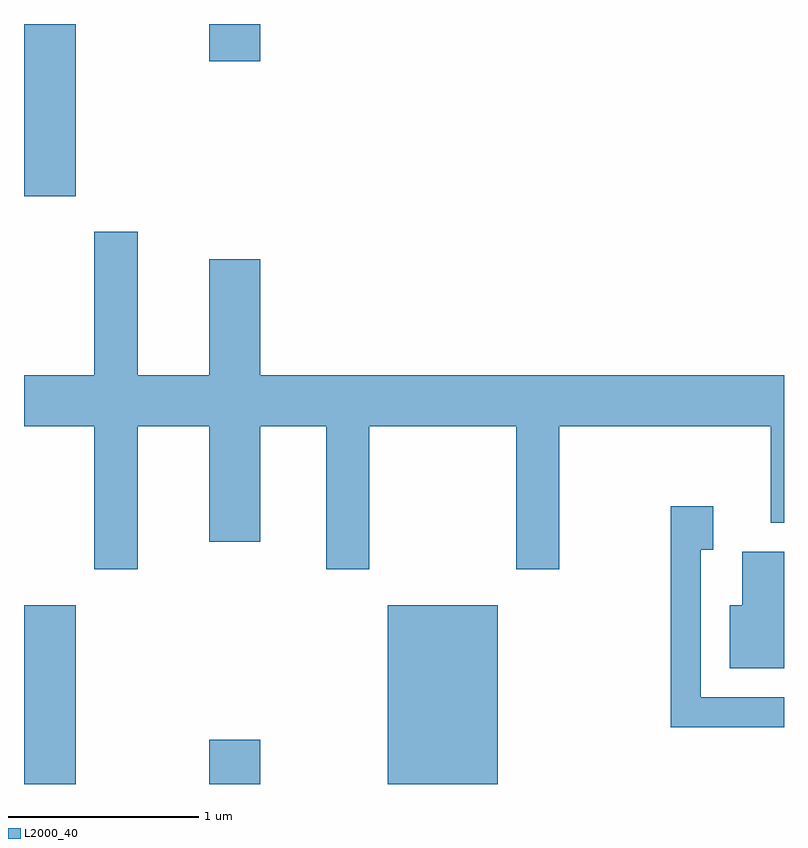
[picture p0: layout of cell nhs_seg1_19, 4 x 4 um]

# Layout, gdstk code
import gdstk
lib = gdstk.Library(unit=1e-6, precision=1e-09)
def R(c, l, rs):  # rectangles x0, y0, x1, y1
    for r in rs: c.add(gdstk.rectangle(r[:2], r[2:], *l))
def P(c, l, *ps):  # polygons
    for p in ps: c.add(gdstk.Polygon(p, *l))
L2000_40 = (2000, 40)

nhs_seg1_19 = lib.new_cell('nhs_seg1_19')
R(nhs_seg1_19, L2000_40, [(185.611,877.712,185.884,878.654), (186.586,877.712,186.854,877.944), (187.526,877.712,188.104,878.654), (185.611,880.806,185.884,881.712), (186.586,881.516,186.854,881.712)])
P(nhs_seg1_19, L2000_40, [(186.209,879.596),(186.586,879.596),(186.586,878.986),(186.854,878.986),(186.854,879.596),(187.201,879.596),(187.201,878.841),(187.429,878.841),(187.429,879.596),(188.201,879.596),(188.201,878.841),(188.429,878.841),(188.429,879.596),(189.541,879.596),(189.541,879.086),(189.611,879.086),(189.611,879.864),(186.854,879.864),(186.854,880.474),(186.586,880.474),(186.586,879.864),(186.209,879.864),(186.209,880.619),(185.981,880.619),(185.981,879.864),(185.611,879.864),(185.611,879.596),(185.981,879.596),(185.981,878.841),(186.209,878.841)],
  [(189.611,878.169),(189.174,878.169),(189.174,878.946),(189.239,878.946),(189.239,879.174),(189.016,879.174),(189.016,878.011),(189.611,878.011)],
  [(189.611,878.934),(189.391,878.934),(189.391,878.654),(189.326,878.654),(189.326,878.321),(189.611,878.321)])

lib.write_gds('nhs_seg1_19.gds')
